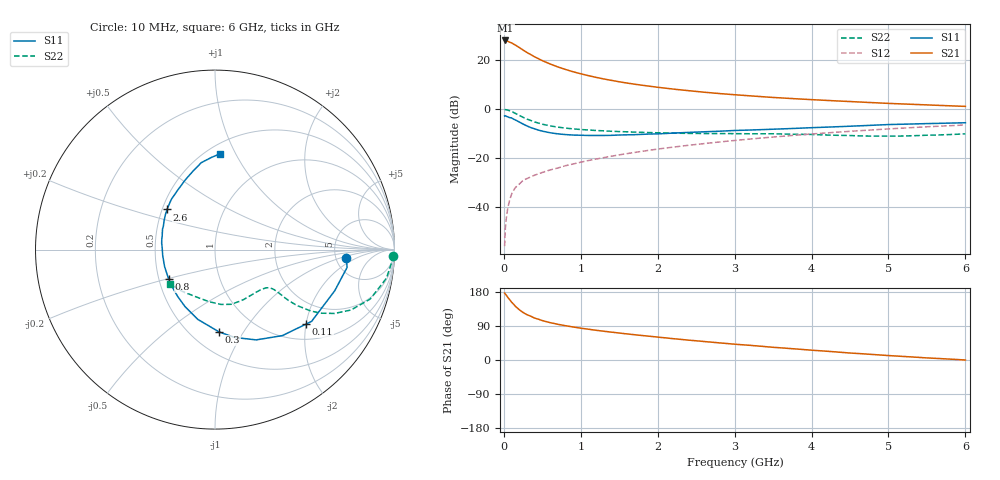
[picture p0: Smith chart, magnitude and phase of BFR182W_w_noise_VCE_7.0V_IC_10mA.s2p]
! Infineon Technologies  Discrete & RF Semiconductors
! BFR182W
! VCE =  7.0 V,  IC =  10 mA
! Common Emitter S-Parameters:  Jan 2017
# GHz  S  MA  R  50
!  f  S11  S21  S12  S22
! GHz  MAG  ANG  MAG  ANG  MAG  ANG  MAG  ANG
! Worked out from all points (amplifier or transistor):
!   77 points, 10 MHz to 6 GHz, reference 50 ohm
!   highest |S21| = 28.2 dB at 20 MHz (marker M1)
!   |S21| within 3 dB of that: start of sweep to 205.2 MHz
!   unconditionally stable (mu >= 1): 1.108 GHz to 2.637 GHz
!   at 130 MHz: K = 0.28, MSG = 29.8 dB, |S12| = -33.0 dB
!   at 2.2 GHz: K = 1.02, MAG = 10.9 dB, |S12| = -15.4 dB
!   at 6 GHz: K = 0.86, MSG = 3.8 dB, |S12| = -6.4 dB
!   lowest NFmin = 1.07 dB at 450 MHz
!   S11 on the Smith chart (normalised r, x): 10 MHz: 6.22, -1.31; 110 MHz: 1.37, -1.99; 300 MHz: 0.68, -0.79; 800 MHz: 0.56, -0.21; 2.6 GHz: 0.53, +0.27; 6 GHz: 0.58, +0.86
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0.01  0.7335 -3.8  25.54 176.6  0.0016 85.2  0.9947 -1.9
0.02  0.7427 -7.7  25.66 174.0  0.0038 99.4  0.9876 -4.0
0.05  0.7053 -19.0  24.77 165.7  0.0093 82.1  0.9687 -9.4
0.1  0.6705 -36.6  22.94 152.8  0.0183 74.2  0.9081 -17.6
0.11  0.6547 -39.4  22.42 150.8  0.0197 72.7  0.8917 -18.8
0.15  0.6089 -51.9  20.66 141.8  0.0253 68.2  0.8301 -23.9
0.2  0.5528 -65.5  18.38 132.8  0.0296 64.3  0.7552 -28.1
0.25  0.5018 -77.3  16.38 125.4  0.0354 62.1  0.6899 -30.9
0.3  0.4591 -87.2  14.57 119.6  0.0385 60.7  0.6334 -32.7
0.4  0.4006 -103.8  11.87 110.6  0.0452 59.5  0.5532 -34.3
0.5  0.3593 -117.6  9.918 104.0  0.0514 60.3  0.4982 -34.7
0.6  0.3334 -128.7  8.501 98.7  0.0578 61.0  0.4612 -34.5
0.8  0.3059 -147.3  6.572 90.5  0.0705 63.5  0.4149 -34.1
0.9  0.2988 -154.8  5.881 87.1  0.0766 63.6  0.3998 -34.1
1.1  0.2931 -167.8  4.896 81.2  0.0901 65.3  0.3792 -34.6
1.5  0.2994 173.1  3.67 71.2  0.1175 66.0  0.3521 -37.6
2.1  0.3214 152.5  2.716 58.4  0.1618 64.6  0.3296 -46.4
2.6  0.3483 140.1  2.248 48.8  0.1997 62.4  0.3214 -56.2
3.1  0.3745 128.9  1.942 40.2  0.2395 59.5  0.3183 -66.0
4.1  0.4283 111.4  1.554 24.5  0.3226 51.8  0.303 -86.3
5.1  0.4941 97.7  1.308 10.5  0.4071 42.7  0.2845 -115.8
6  0.5337 87.2  1.152 0.0  0.4805 33.7  0.316 -142.6
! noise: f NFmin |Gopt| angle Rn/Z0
0.45  1.07  0.08  50  0.15
0.9  1.15  0.07  86  0.15
1.9  1.65  0.19  -164  0.13
2.4  1.9  0.18  -156  0.2
